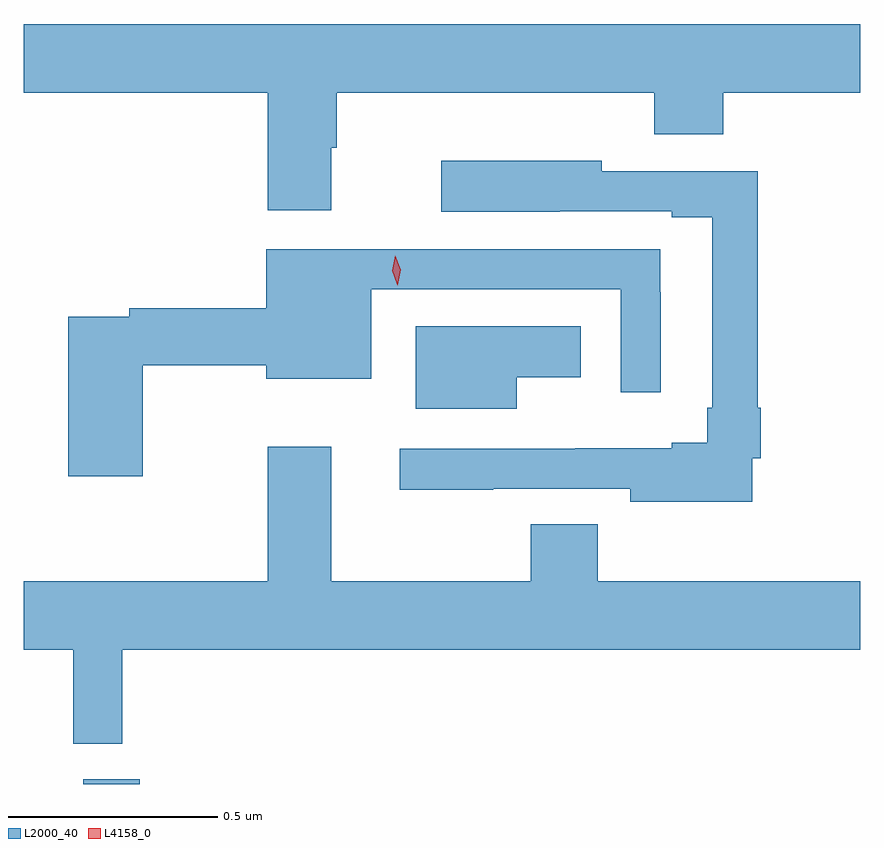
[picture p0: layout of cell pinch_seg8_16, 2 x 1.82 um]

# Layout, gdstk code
import gdstk
lib = gdstk.Library(unit=1e-6, precision=1e-09)
def R(c, l, rs):  # rectangles x0, y0, x1, y1
    for r in rs: c.add(gdstk.rectangle(r[:2], r[2:], *l))
def P(c, l, *ps):  # polygons
    for p in ps: c.add(gdstk.Polygon(p, *l))
L2000_40 = (2000, 40)
L4158_0 = (4158, 0)

pinch_seg8_16 = lib.new_cell('pinch_seg8_16')
R(pinch_seg8_16, L2000_40, [(1030.502,1136.159,1030.637,1136.17)])
P(pinch_seg8_16, L2000_40, [(1031.095,1137.68),(1031.108,1137.68),(1031.108,1137.812),(1031.867,1137.812),(1031.867,1137.713),(1032.032,1137.713),(1032.032,1137.812),(1032.36,1137.812),(1032.36,1137.976),(1030.36,1137.976),(1030.36,1137.812),(1030.943,1137.812),(1030.943,1137.531),(1031.095,1137.531)],
  [(1032.102,1136.938),(1032.122,1136.938),(1032.122,1137.058),(1032.115,1137.058),(1032.115,1137.624),(1031.742,1137.624),(1031.742,1137.649),(1031.358,1137.649),(1031.358,1137.527),(1031.642,1137.527),(1031.642,1137.528),(1031.909,1137.528),(1031.909,1137.514),(1032.006,1137.514),(1032.006,1137.058),(1031.994,1137.058),(1031.994,1136.975),(1031.909,1136.975),(1031.909,1136.962),(1031.679,1136.962),(1031.679,1136.961),(1031.259,1136.961),(1031.259,1136.863),(1031.483,1136.863),(1031.483,1136.865),(1031.81,1136.865),(1031.81,1136.834),(1032.102,1136.834)],
  [(1030.644,1137.16),(1030.94,1137.16),(1030.94,1137.128),(1031.191,1137.128),(1031.191,1137.342),(1031.787,1137.342),(1031.787,1137.096),(1031.883,1137.096),(1031.883,1137.335),(1031.882,1137.335),(1031.882,1137.437),(1031.78,1137.437),(1031.78,1137.438),(1030.94,1137.438),(1030.94,1137.296),(1030.612,1137.296),(1030.612,1137.276),(1030.466,1137.276),(1030.466,1136.895),(1030.644,1136.895)],
  [(1031.539,1137.131),(1031.692,1137.131),(1031.692,1137.253),(1031.297,1137.253),(1031.297,1137.056),(1031.539,1137.056)],
  [(1030.595,1136.48),(1032.36,1136.48),(1032.36,1136.644),(1031.732,1136.644),(1031.732,1136.78),(1031.572,1136.78),(1031.572,1136.644),(1031.095,1136.644),(1031.095,1136.965),(1030.943,1136.965),(1030.943,1136.644),(1030.36,1136.644),(1030.36,1136.48),(1030.478,1136.48),(1030.478,1136.255),(1030.595,1136.255)])
P(pinch_seg8_16, L4158_0, [(1031.254,1137.352),(1031.253,1137.353),(1031.241,1137.386),(1031.248,1137.422),(1031.248,1137.422),(1031.248,1137.422),(1031.261,1137.388),(1031.254,1137.353)])

lib.write_gds('pinch_seg8_16.gds')
